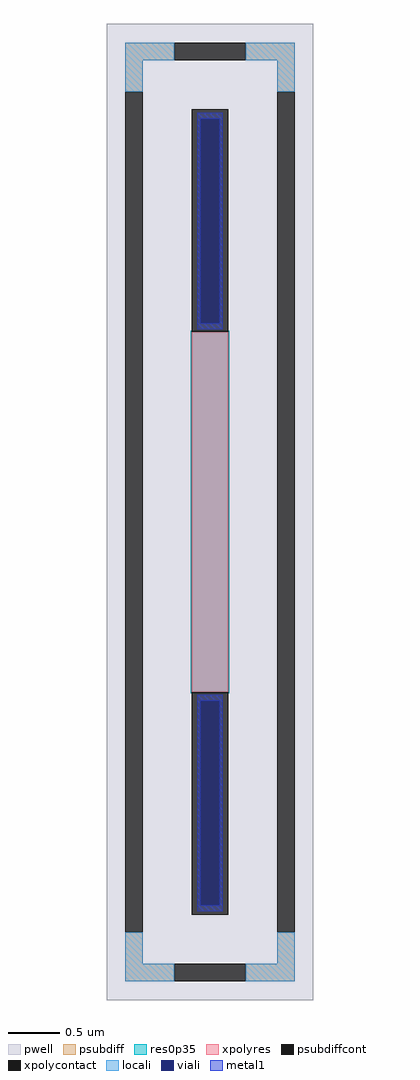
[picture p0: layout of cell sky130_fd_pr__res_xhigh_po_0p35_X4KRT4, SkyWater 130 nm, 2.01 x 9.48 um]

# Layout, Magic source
magic
tech sky130A
magscale 1 2
<< pwell >>
rect -201 -948 201 948
<< psubdiff >>
rect -165 878 -69 912
rect 69 878 165 912
rect -165 816 -131 878
rect 131 816 165 878
rect -165 -878 -131 -816
rect 131 -878 165 -816
rect -165 -912 -69 -878
rect 69 -912 165 -878
<< psubdiffcont >>
rect -69 878 69 912
rect -165 -816 -131 816
rect 131 -816 165 816
rect -69 -912 69 -878
<< xpolycontact >>
rect -35 350 35 782
rect -35 -782 35 -350
<< xpolyres >>
rect -35 -350 35 350
<< locali >>
rect -165 878 -69 912
rect 69 878 165 912
rect -165 816 -131 878
rect 131 816 165 878
rect -165 -878 -131 -816
rect 131 -878 165 -816
rect -165 -912 -69 -878
rect 69 -912 165 -878
<< viali >>
rect -19 367 19 764
rect -19 -764 19 -367
<< metal1 >>
rect -25 764 25 776
rect -25 367 -19 764
rect 19 367 25 764
rect -25 355 25 367
rect -25 -367 25 -355
rect -25 -764 -19 -367
rect 19 -764 25 -367
rect -25 -776 25 -764
<< res0p35 >>
rect -37 -352 37 352
<< properties >>
string FIXED_BBOX -148 -895 148 895
string gencell sky130_fd_pr__res_xhigh_po_0p35
string library sky130
string parameters w 0.350 l 3.5 m 1 nx 1 wmin 0.350 lmin 0.50 rho 2000 val 21.075k dummy 0 dw 0.0 term 188.2 sterm 0.0 caplen 0 wmax 0.350 guard 1 glc 1 grc 1 gtc 1 gbc 1 compatible {sky130_fd_pr__res_xhigh_po_0p35  sky130_fd_pr__res_xhigh_po_0p69 sky130_fd_pr__res_xhigh_po_1p41  sky130_fd_pr__res_xhigh_po_2p85 sky130_fd_pr__res_xhigh_po_5p73} snake 0 full_metal 1 n_guard 0 hv_guard 0 vias 1 viagb 0 viagt 0 viagl 0 viagr 0
<< end >>
